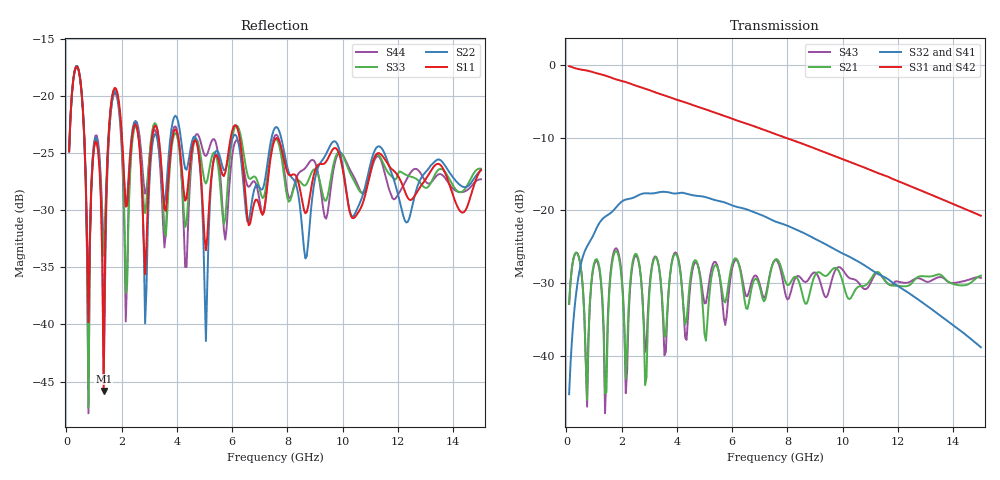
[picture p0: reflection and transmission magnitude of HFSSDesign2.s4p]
! Touchstone file exported from HFSS 2021.1.0
!  File:  C:/Users/BRAIN/Documents/Ansoft/channel_design_220214.aedt
!  Generated:  6:37:35 %xC624%xD6C4  2 15, 2022
!  Design:  HFSSDesign2
!  Project:  channel_design_220214
!  Setup:  Setup1
!  Solution:  Sweep
! Variables:
!  dis = 8mil
!  l_channel = 4in
!  t_channel = 18um
!  t_di = 4.5mil
!  w_channel = 8mil
!  w_di = 50mil
# GHz S RI R 50.000000
! Terminal data exported
! Port[1] = trace1_T1
! Port[2] = trace2_T1
! Port[3] = trace1_T2
! Port[4] = trace2_T2
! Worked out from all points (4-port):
!   299 points, 100 MHz to 15 GHz, reference 50 ohm
!   strongest paths, dB at 100 MHz, 3.8 GHz, 7.55 GHz, 11.3 GHz, 15 GHz:
!     S31: -0.2, -4.5, -9.5, -14.9, -20.7
!     S42: -0.2, -4.5, -9.5, -14.9, -20.7
!     S32: -45.3, -17.6, -21.5, -28.8, -38.8
!     S41: -45.3, -17.6, -21.5, -28.8, -38.7
!     S21: -32.9, -27.5, -26.8, -28.5, -29.0
!     S43: -32.9, -27.4, -26.8, -28.6, -29.3
!   lowest |S11| = -45.8 dB at 1.35 GHz (marker M1), VSWR 1.01, Z = 49.5 - j0.0805 ohm
!   |S11| at or under -10 dB: start of sweep to end of sweep
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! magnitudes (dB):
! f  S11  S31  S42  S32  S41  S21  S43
! 100 MHz  -24.9  -0.2  -0.2  -45.3  -45.3  -32.9  -32.9
! 800 MHz  -39.8  -0.8  -0.8  -24.6  -24.6  -37.3  -37.7
! 1.35 GHz  -45.8  -1.4  -1.4  -21.0  -21.0  -35.9  -36.9
! 1.75 GHz  -19.3  -1.9  -1.9  -19.8  -19.8  -25.7  -25.3
! 2.15 GHz  -29.7  -2.4  -2.4  -18.5  -18.5  -43.1  -45.1
! 5.05 GHz  -33.5  -6.1  -6.1  -18.2  -18.2  -37.9  -32.7
! 15 GHz  -26.4  -20.7  -20.7  -38.8  -38.7  -29.0  -29.3
